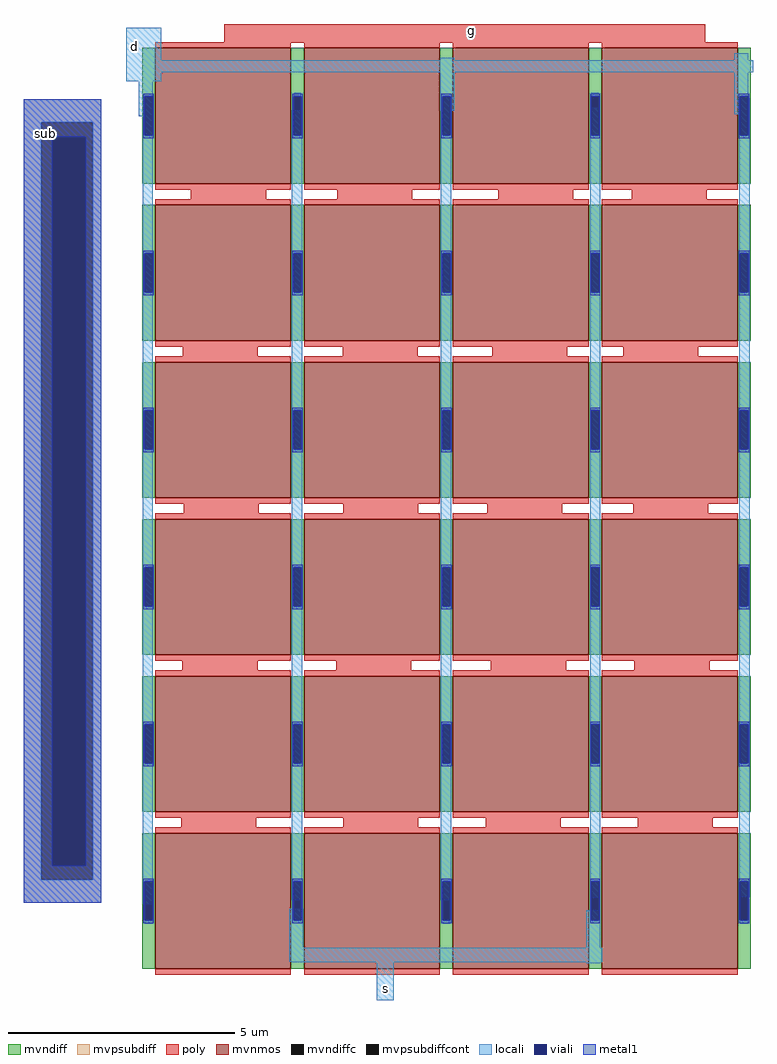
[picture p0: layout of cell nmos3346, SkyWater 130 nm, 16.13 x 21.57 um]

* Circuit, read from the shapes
.subckt nmos3346 d g s sub
XM1 s g d sub sky130_fd_pr__nfet_g5v0d10v5 w=3 l=3 m=24
.ends

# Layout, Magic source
magic
tech sky130A
magscale 1 2
<< mvpsubdiff >>
rect -524 3768 -180 3870
rect -524 420 -446 3768
rect -218 420 -180 3768
rect -524 318 -180 420
<< mvpsubdiffcont >>
rect -446 420 -218 3768
<< poly >>
rect 362 4120 2488 4202
rect 216 3414 548 3484
rect 862 3412 1194 3482
rect 1574 3414 1906 3484
rect 2164 3414 2496 3484
rect 180 2718 512 2788
rect 886 2720 1218 2790
rect 1548 2720 1880 2790
rect 2126 2720 2458 2790
rect 184 2026 516 2096
rect 888 2028 1220 2098
rect 1526 2028 1858 2098
rect 2170 2028 2502 2098
rect 178 1332 510 1402
rect 858 1330 1190 1400
rect 1542 1330 1874 1400
rect 2176 1334 2508 1404
rect 172 638 504 708
rect 888 636 1220 706
rect 1518 638 1850 708
rect 2190 638 2522 708
<< locali >>
rect -70 4042 84 4186
rect 1318 4042 1380 4052
rect 2618 4042 2680 4072
rect -70 3988 2702 4042
rect -70 3948 84 3988
rect -524 3768 -180 3870
rect -14 3840 48 3948
rect -14 3794 52 3840
rect -524 420 -446 3768
rect -218 420 -180 3768
rect -524 318 -180 420
rect 2 312 48 3794
rect 662 328 708 3820
rect 1318 3818 1380 3988
rect 2618 3874 2680 3988
rect 1320 328 1366 3818
rect 1980 340 2026 3832
rect 2618 3802 2686 3874
rect 2640 344 2686 3802
rect 650 120 712 292
rect 1962 120 2024 284
rect 650 58 2034 120
rect 662 54 2034 58
rect 1038 -112 1112 54
rect 1962 50 2024 54
<< viali >>
rect -398 482 -250 3704
<< metal1 >>
rect -524 3704 -180 3870
rect -524 482 -398 3704
rect -250 482 -180 3704
rect -524 318 -180 482
use sky130_fd_pr__nfet_g5v0d10v5_GZ7LRN  sky130_fd_pr__nfet_g5v0d10v5_GZ7LRN_0
transform 1 0 1345 0 1 2061
box -1345 -2061 1345 2061
<< labels >>
flabel locali -34 4104 -34 4104 0 FreeSans 1600 0 0 0 d
flabel poly 1456 4172 1456 4172 0 FreeSans 1600 0 0 0 g
flabel locali 1074 -62 1074 -62 0 FreeSans 1600 0 0 0 s
flabel metal1 -428 3718 -428 3718 0 FreeSans 1600 0 0 0 sub
<< end >>

# cell sky130_fd_pr__nfet_g5v0d10v5_GZ7LRN: kit device sky130_fd_pr__nfet_g5v0d10v5, w 3 l 3 m 6 nf 4 diffcov 30 polycov 30 guard 0 glc 0 grc 0 gtc 0 gbc 0 tbcov 100 rlcov 100 topc 0 botc 0 poverlap 0 doverlap 1 lmin 0.50 wmin 0.42 compatible {sky130_fd_pr__nfet_01v8 sky130_fd_pr__nfet_01v8_lvt sky130_fd_bs_flash__special_sonosfet_star sky130_fd_pr__nfet_g5v0d10v5 sky130_fd_pr__nfet_05v0_nvt sky130_fd_pr__nfet_03v3_nvt} full_metal 0 viasrc 30 viadrn 30 viagate 100 viagb 0 viagr 0 viagl 0 viagt 0
